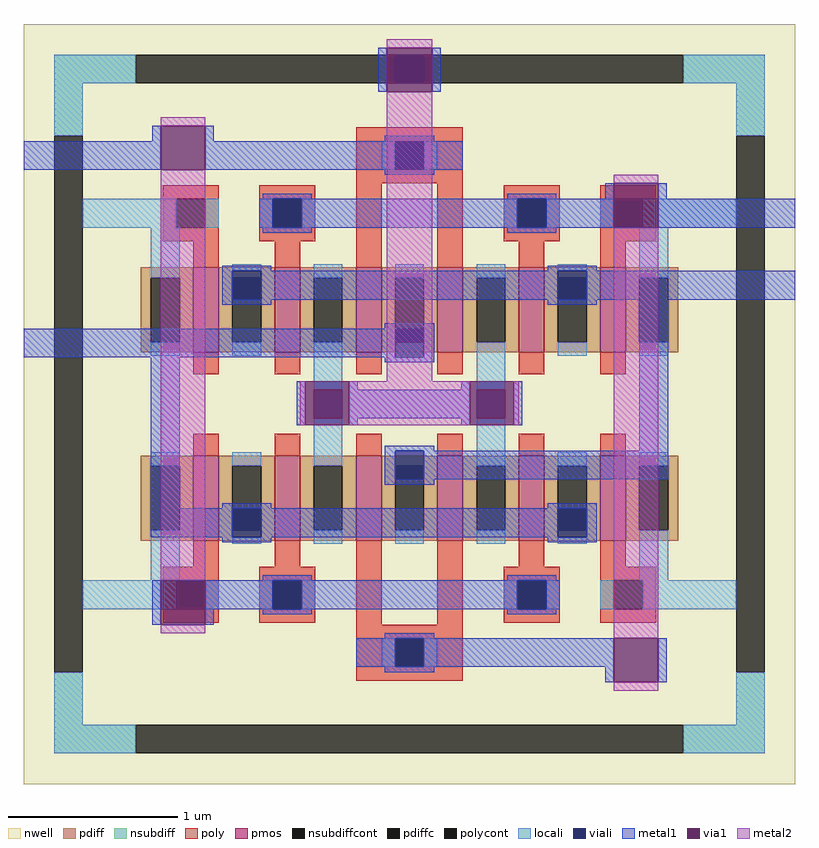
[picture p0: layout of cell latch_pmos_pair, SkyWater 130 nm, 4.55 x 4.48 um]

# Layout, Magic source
magic
tech sky130A
magscale 1 2
<< nwell >>
rect -455 -558 455 338
<< pmos >>
rect -255 -49 -225 51
rect -159 -49 -129 51
rect -63 -49 -33 51
rect 33 -49 63 51
rect 129 -49 159 51
rect 225 -49 255 51
rect -255 -271 -225 -171
rect -159 -271 -129 -171
rect -63 -271 -33 -171
rect 33 -271 63 -171
rect 129 -271 159 -171
rect 225 -271 255 -171
<< pdiff >>
rect -317 39 -255 51
rect -317 -37 -305 39
rect -271 -37 -255 39
rect -317 -49 -255 -37
rect -225 39 -159 51
rect -225 -37 -209 39
rect -175 -37 -159 39
rect -225 -49 -159 -37
rect -129 39 -63 51
rect -129 -37 -113 39
rect -79 -37 -63 39
rect -129 -49 -63 -37
rect -33 39 33 51
rect -33 -37 -17 39
rect 17 -37 33 39
rect -33 -49 33 -37
rect 63 39 129 51
rect 63 -37 79 39
rect 113 -37 129 39
rect 63 -49 129 -37
rect 159 39 225 51
rect 159 -37 175 39
rect 209 -37 225 39
rect 159 -49 225 -37
rect 255 39 317 51
rect 255 -37 271 39
rect 305 -37 317 39
rect 255 -49 317 -37
rect -317 -183 -255 -171
rect -317 -259 -305 -183
rect -271 -259 -255 -183
rect -317 -271 -255 -259
rect -225 -183 -159 -171
rect -225 -259 -209 -183
rect -175 -259 -159 -183
rect -225 -271 -159 -259
rect -129 -183 -63 -171
rect -129 -259 -113 -183
rect -79 -259 -63 -183
rect -129 -271 -63 -259
rect -33 -183 33 -171
rect -33 -259 -17 -183
rect 17 -259 33 -183
rect -33 -271 33 -259
rect 63 -183 129 -171
rect 63 -259 79 -183
rect 113 -259 129 -183
rect 63 -271 129 -259
rect 159 -183 225 -171
rect 159 -259 175 -183
rect 209 -259 225 -183
rect 159 -271 225 -259
rect 255 -183 317 -171
rect 255 -259 271 -183
rect 305 -259 317 -183
rect 255 -271 317 -259
<< pdiffc >>
rect -305 -37 -271 39
rect -209 -37 -175 39
rect -113 -37 -79 39
rect -17 -37 17 39
rect 79 -37 113 39
rect 175 -37 209 39
rect 271 -37 305 39
rect -305 -259 -271 -183
rect -209 -259 -175 -183
rect -113 -259 -79 -183
rect -17 -259 17 -183
rect 79 -259 113 -183
rect 175 -259 209 -183
rect 271 -259 305 -183
<< nsubdiff >>
rect -419 268 -323 302
rect 323 268 419 302
rect -419 206 -385 268
rect 385 206 419 268
rect -419 -488 -385 -426
rect 385 -488 419 -426
rect -419 -522 -323 -488
rect 323 -522 419 -488
<< nsubdiffcont >>
rect -323 268 323 302
rect -419 -426 -385 206
rect 385 -426 419 206
rect -323 -522 323 -488
<< poly >>
rect -63 200 63 216
rect -63 166 -17 200
rect 17 166 63 200
rect -63 150 63 166
rect -291 132 -225 148
rect -291 98 -275 132
rect -241 98 -225 132
rect -291 82 -225 98
rect -177 132 -111 148
rect -177 98 -161 132
rect -127 98 -111 132
rect -177 82 -111 98
rect -255 51 -225 82
rect -159 51 -129 82
rect -63 51 -33 150
rect 33 51 63 150
rect 111 132 177 148
rect 111 98 127 132
rect 161 98 177 132
rect 111 82 177 98
rect 225 132 291 148
rect 225 98 241 132
rect 275 98 291 132
rect 225 82 291 98
rect 129 51 159 82
rect 225 51 255 82
rect -255 -75 -225 -49
rect -159 -75 -129 -49
rect -63 -75 -33 -49
rect 33 -75 63 -49
rect 129 -75 159 -49
rect 225 -75 255 -49
rect -255 -171 -225 -145
rect -159 -171 -129 -145
rect -63 -171 -33 -145
rect 33 -171 63 -145
rect 129 -171 159 -145
rect 225 -171 255 -145
rect -255 -302 -225 -271
rect -159 -302 -129 -271
rect -291 -318 -225 -302
rect -291 -352 -275 -318
rect -241 -352 -225 -318
rect -291 -368 -225 -352
rect -177 -318 -111 -302
rect -177 -352 -161 -318
rect -127 -352 -111 -318
rect -177 -368 -111 -352
rect -63 -370 -33 -271
rect 33 -370 63 -271
rect 129 -302 159 -271
rect 225 -302 255 -271
rect 111 -318 177 -302
rect 111 -352 127 -318
rect 161 -352 177 -318
rect 111 -368 177 -352
rect 225 -318 291 -302
rect 225 -352 241 -318
rect 275 -352 291 -318
rect 225 -368 291 -352
rect -63 -386 63 -370
rect -63 -420 -17 -386
rect 17 -420 63 -386
rect -63 -436 63 -420
<< polycont >>
rect -17 166 17 200
rect -275 98 -241 132
rect -161 98 -127 132
rect 127 98 161 132
rect 241 98 275 132
rect -275 -352 -241 -318
rect -161 -352 -127 -318
rect 127 -352 161 -318
rect 241 -352 275 -318
rect -17 -420 17 -386
<< locali >>
rect -419 268 -323 302
rect 323 268 419 302
rect -419 206 -385 268
rect 385 206 419 268
rect -33 166 -17 200
rect 17 166 33 200
rect -385 98 -275 132
rect -241 98 -225 132
rect -177 98 -161 132
rect -127 98 -111 132
rect 111 98 127 132
rect 161 98 177 132
rect 225 98 241 132
rect 275 98 385 132
rect -305 39 -271 98
rect -305 -53 -271 -37
rect -209 47 -175 55
rect -209 -53 -175 -37
rect -113 39 -79 55
rect -113 -93 -79 -37
rect -17 39 17 55
rect 79 39 113 55
rect -305 -183 -271 -167
rect -305 -318 -271 -259
rect -209 -183 -175 -167
rect -209 -275 -175 -267
rect -113 -183 -79 -127
rect 79 -93 113 -37
rect 175 47 209 55
rect 175 -53 209 -37
rect 271 39 305 98
rect 271 -53 305 -37
rect -113 -275 -79 -259
rect -17 -275 17 -259
rect 79 -183 113 -127
rect 79 -275 113 -259
rect 175 -183 209 -167
rect 175 -275 209 -267
rect 271 -183 305 -167
rect 271 -318 305 -259
rect -385 -352 -275 -318
rect -241 -352 -225 -318
rect -177 -352 -161 -318
rect -127 -352 -111 -318
rect 111 -352 127 -318
rect 161 -352 177 -318
rect 225 -352 241 -318
rect 275 -352 385 -318
rect -33 -420 -17 -386
rect 17 -420 33 -386
rect -419 -488 -385 -426
rect 385 -488 419 -426
rect -419 -522 -323 -488
rect 323 -522 419 -488
<< viali >>
rect -17 268 17 302
rect -17 166 17 200
rect -161 98 -127 132
rect 127 98 161 132
rect -209 39 -175 47
rect -209 13 -175 39
rect -17 -37 17 -21
rect -17 -55 17 -37
rect -113 -127 -79 -93
rect -209 -259 -175 -233
rect -209 -267 -175 -259
rect 175 39 209 47
rect 175 13 209 39
rect 79 -127 113 -93
rect -17 -183 17 -165
rect -17 -199 17 -183
rect 175 -259 209 -233
rect 175 -267 209 -259
rect -161 -352 -127 -318
rect 127 -352 161 -318
rect -17 -420 17 -386
<< metal1 >>
rect -37 258 -27 310
rect 27 258 37 310
rect -303 200 -293 218
rect -455 166 -293 200
rect -241 200 -231 218
rect -29 200 29 206
rect -241 166 -17 200
rect 17 166 63 200
rect -29 160 29 166
rect -173 132 -115 138
rect 115 132 173 138
rect 231 132 241 150
rect -177 98 -161 132
rect -127 98 127 132
rect 161 98 241 132
rect 293 132 303 150
rect 293 98 455 132
rect -173 92 -115 98
rect 115 92 173 98
rect -221 47 -163 53
rect 163 47 221 53
rect -221 13 -209 47
rect -175 13 175 47
rect 209 13 455 47
rect -221 7 -163 13
rect 163 7 221 13
rect -29 -21 29 -15
rect -455 -55 -17 -21
rect 17 -55 29 -21
rect -305 -233 -271 -55
rect -29 -61 29 -55
rect -133 -135 -123 -83
rect -71 -93 -61 -83
rect 61 -93 71 -83
rect -71 -127 71 -93
rect -71 -135 -61 -127
rect 61 -135 71 -127
rect 123 -135 133 -83
rect -29 -165 29 -159
rect 271 -165 305 13
rect -29 -199 -17 -165
rect 17 -199 305 -165
rect -29 -205 29 -199
rect -221 -233 -163 -227
rect 163 -233 221 -227
rect -305 -267 -209 -233
rect -175 -267 175 -233
rect 209 -267 221 -233
rect -221 -273 -163 -267
rect 163 -273 221 -267
rect -173 -318 -115 -312
rect 115 -318 173 -312
rect -303 -370 -293 -318
rect -241 -352 -161 -318
rect -127 -352 127 -318
rect 161 -352 177 -318
rect -241 -370 -231 -352
rect -173 -358 -115 -352
rect 115 -358 173 -352
rect -29 -386 29 -380
rect -63 -420 -17 -386
rect 17 -420 241 -386
rect -29 -426 29 -420
rect 231 -438 241 -420
rect 293 -438 303 -386
<< via1 >>
rect -27 302 27 310
rect -27 268 -17 302
rect -17 268 17 302
rect 17 268 27 302
rect -27 258 27 268
rect -293 166 -241 218
rect 241 98 293 150
rect -123 -93 -71 -83
rect 71 -93 123 -83
rect -123 -127 -113 -93
rect -113 -127 -79 -93
rect -79 -127 -71 -93
rect 71 -127 79 -93
rect 79 -127 113 -93
rect 113 -127 123 -93
rect -123 -135 -71 -127
rect 71 -135 123 -127
rect -293 -370 -241 -318
rect 241 -438 293 -386
<< metal2 >>
rect -27 310 27 320
rect -293 218 -241 228
rect -293 -318 -241 166
rect -27 -83 27 258
rect 241 150 293 160
rect -129 -135 -123 -83
rect -71 -135 71 -83
rect 123 -135 129 -83
rect -293 -380 -241 -370
rect 241 -386 293 98
rect 241 -448 293 -438
<< properties >>
string FIXED_BBOX -402 -206 402 206
string gencell sky130_fd_pr__nfet_01v8
string library sky130
string parameters w 0.5 l 0.150 m 1 nf 6 diffcov 100 polycov 100 guard 1 glc 1 grc 1 gtc 1 gbc 1 tbcov 100 rlcov 100 topc 1 botc 1 poverlap 0 doverlap 1 lmin 0.15 wmin 0.42 compatible {sky130_fd_pr__nfet_01v8 sky130_fd_pr__nfet_01v8_lvt  sky130_fd_bs_flash__special_sonosfet_star  sky130_fd_pr__nfet_g5v0d10v5 sky130_fd_pr__nfet_05v0_nvt  sky130_fd_pr__nfet_03v3_nvt} full_metal 1 viasrc 100 viadrn 100 viagate 100 viagb 0 viagr 0 viagl 0 viagt 0
<< end >>
